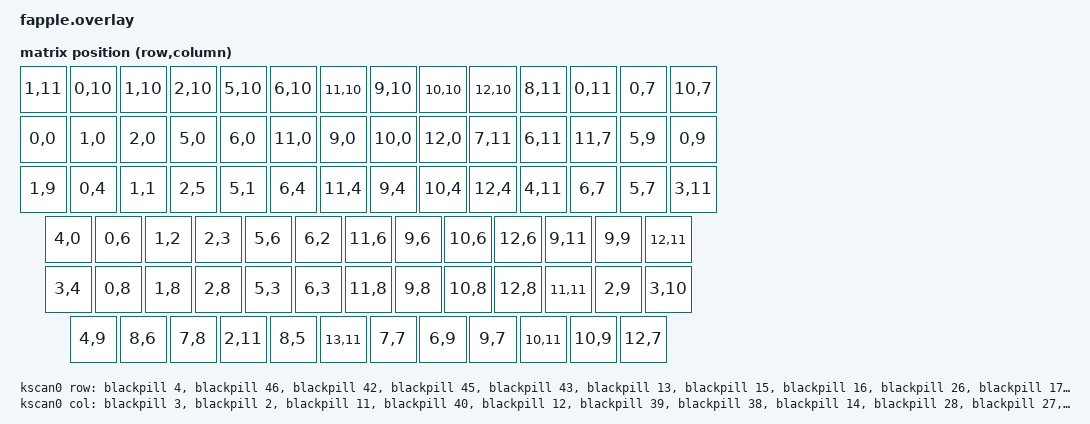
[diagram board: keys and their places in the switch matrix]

#include <dt-bindings/zmk/matrix_transform.h>

/ {
    chosen {
        zmk,kscan = &kscan0;
        zmk,matrix_transform = &default_transform;
    };

    default_transform: keymap_transform_0 {
        compatible = "zmk,matrix-transform";
        columns = <12>;
        rows = <14>;
        map = <
RC(1,11)	RC(0,10)	RC(1,10)	RC(2,10)	RC(5,10)	RC(6,10)	RC(11,10)	RC(9,10)	RC(10,10)	RC(12,10)	RC(8,11)	RC(0,11)	RC(0,7)	RC(10,7)
RC(0,0)	RC(1,0)	RC(2,0)	RC(5,0)	RC(6,0)	RC(11,0)	RC(9,0)	RC(10,0)	RC(12,0)	RC(7,11)	RC(6,11)	RC(11,7)	RC(5,9)	RC(0,9)
RC(1,9)	RC(0,4)	RC(1,1)	RC(2,5)	RC(5,1)	RC(6,4)	RC(11,4)	RC(9,4)	RC(10,4)	RC(12,4)	RC(4,11)	RC(6,7)	RC(5,7)	RC(3,11)
RC(4,0)	RC(0,6)	RC(1,2)	RC(2,3)	RC(5,6)	RC(6,2)	RC(11,6)	RC(9,6)	RC(10,6)	RC(12,6)	RC(9,11)	RC(9,9)	RC(12,11)	
RC(3,4)	RC(0,8)	RC(1,8)	RC(2,8)	RC(5,3)	RC(6,3)	RC(11,8)	RC(9,8)	RC(10,8)	RC(12,8)	RC(11,11)	RC(2,9)		RC(3,10)
RC(4,9)	RC(8,6)	RC(7,8)	RC(2,11)	RC(8,5)			RC(13,11)	RC(7,7)	RC(6,9)	RC(9,7)	RC(10,11)	RC(10,9)	RC(12,7)
        >;
    };


    kscan0: kscan_0 {
        compatible = "zmk,kscan-gpio-matrix";
        label = "KSCAN";
        diode-direction = "col2row";

        row-gpios
            = <&blackpill 4 (GPIO_ACTIVE_HIGH | GPIO_PULL_DOWN)>
			, <&blackpill 46 (GPIO_ACTIVE_HIGH | GPIO_PULL_DOWN)>
			, <&blackpill 42 (GPIO_ACTIVE_HIGH | GPIO_PULL_DOWN)>
			, <&blackpill 45 (GPIO_ACTIVE_HIGH | GPIO_PULL_DOWN)>
			, <&blackpill 43 (GPIO_ACTIVE_HIGH | GPIO_PULL_DOWN)>
			, <&blackpill 13 (GPIO_ACTIVE_HIGH | GPIO_PULL_DOWN)>
			, <&blackpill 15 (GPIO_ACTIVE_HIGH | GPIO_PULL_DOWN)>
			, <&blackpill 16 (GPIO_ACTIVE_HIGH | GPIO_PULL_DOWN)>
			, <&blackpill 26 (GPIO_ACTIVE_HIGH | GPIO_PULL_DOWN)>
			, <&blackpill 17 (GPIO_ACTIVE_HIGH | GPIO_PULL_DOWN)>
			, <&blackpill 20 (GPIO_ACTIVE_HIGH | GPIO_PULL_DOWN)>	
			, <&blackpill 19 (GPIO_ACTIVE_HIGH | GPIO_PULL_DOWN)>
			, <&blackpill 21 (GPIO_ACTIVE_HIGH | GPIO_PULL_DOWN)>
			, <&blackpill 10 (GPIO_ACTIVE_HIGH | GPIO_PULL_DOWN)>
            ;

        col-gpios
            = <&blackpill 3 GPIO_ACTIVE_HIGH>
			, <&blackpill 2 GPIO_ACTIVE_HIGH>
			, <&blackpill 11 GPIO_ACTIVE_HIGH>
			, <&blackpill 40 GPIO_ACTIVE_HIGH>
			, <&blackpill 12 GPIO_ACTIVE_HIGH>
			, <&blackpill 39 GPIO_ACTIVE_HIGH>
			, <&blackpill 38 GPIO_ACTIVE_HIGH>
			, <&blackpill 14 GPIO_ACTIVE_HIGH>
			, <&blackpill 28 GPIO_ACTIVE_HIGH>
			, <&blackpill 27 GPIO_ACTIVE_HIGH>
			, <&blackpill 25 GPIO_ACTIVE_HIGH>
			, <&blackpill 18 GPIO_ACTIVE_HIGH>

            ;
    };
};
